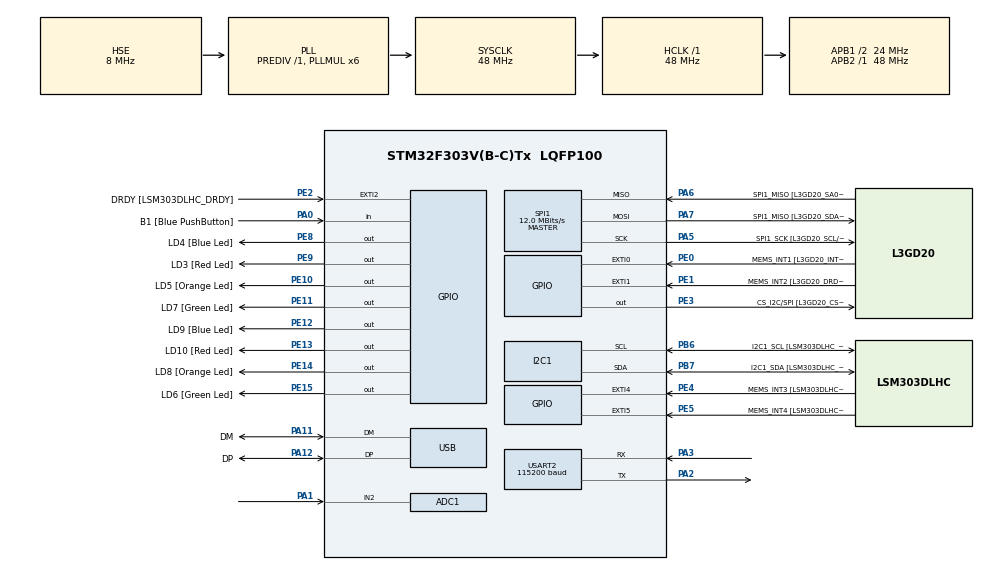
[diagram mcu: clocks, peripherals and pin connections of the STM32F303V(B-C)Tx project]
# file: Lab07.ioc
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ADC1.Channel-1\#ChannelRegularConversion=ADC_CHANNEL_2
ADC1.ContinuousConvMode=DISABLE
ADC1.NbrOfConversionFlag=1
ADC1.Offset-1\#ChannelRegularConversion=0
ADC1.OffsetNumber-1\#ChannelRegularConversion=ADC_OFFSET_NONE
ADC1.Rank-1\#ChannelRegularConversion=1
ADC1.SamplingTime-1\#ChannelRegularConversion=ADC_SAMPLETIME_61CYCLES_5
ADC1.SamplingTimeOPAMP-1\#ChannelRegularConversion=ADC_SAMPLETIME_19CYCLES_5
ADC1.master=1
I2C1.Timing=0x00201D2B
I2C1.Timing-I2C=0x2000090E
Mcu.Family=STM32F3
Mcu.Name=STM32F303V(B-C)Tx
Mcu.Package=LQFP100
NVIC.PriorityGroup=NVIC_PRIORITYGROUP_0
PA0.GPIO_Label=B1 [Blue PushButton]
PA0.Signal=GPIO_Input
PA1.Mode=IN2-Single-Ended
PA1.Signal=ADC1_IN2
PA11.GPIO_Label=DM
PA11.Mode=Device
PA11.Signal=USB_DM
PA12.GPIO_Label=DP
PA12.Mode=Device
PA12.Signal=USB_DP
PA13.GPIO_Label=SWDIO
PA13.Mode=Serial_Wire
PA13.Signal=SYS_JTMS-SWDIO
PA14.GPIO_Label=SWCLK
PA14.Mode=Serial_Wire
PA14.Signal=SYS_JTCK-SWCLK
PA2.Mode=Asynchronous
PA2.Signal=USART2_TX
PA3.Mode=Asynchronous
PA3.Signal=USART2_RX
PA5.GPIO_Label=SPI1_SCK [L3GD20_SCL/SPC]
PA5.Mode=Full_Duplex_Master
PA5.Signal=SPI1_SCK
PA6.GPIO_Label=SPI1_MISO [L3GD20_SA0/SDO]
PA6.Mode=Full_Duplex_Master
PA6.Signal=SPI1_MISO
PA7.GPIO_Label=SPI1_MISO [L3GD20_SDA/SDI/SDO]
PA7.Mode=Full_Duplex_Master
PA7.Signal=SPI1_MOSI
PB3.GPIO_Label=SWO
PB3.Signal=SYS_JTDO-TRACESWO
PB6.GPIO_Label=I2C1_SCL [LSM303DLHC_SCL]
PB6.GPIO_Pu=GPIO_PULLUP
PB6.Mode=I2C
PB6.Signal=I2C1_SCL
PB7.GPIO_Label=I2C1_SDA [LSM303DLHC_SDA]
PB7.GPIO_Pu=GPIO_PULLUP
PB7.Mode=I2C
PB7.Signal=I2C1_SDA
PC14-OSC32_IN.GPIO_Label=OSC32_IN
PC14-OSC32_IN.Signal=RCC_OSC32_IN
PC15-OSC32_OUT.GPIO_Label=OSC32_OUT
PC15-OSC32_OUT.Signal=RCC_OSC32_OUT
PE0.GPIO_Label=MEMS_INT1 [L3GD20_INT1]
PE0.GPIO_ModeDefaultEXTI=GPIO_MODE_EVT_RISING
PE0.Signal=GPXTI0
PE1.GPIO_Label=MEMS_INT2 [L3GD20_DRDY/INT2]
PE1.GPIO_ModeDefaultEXTI=GPIO_MODE_EVT_RISING
PE1.Signal=GPXTI1
PE10.GPIO_Label=LD5 [Orange Led]
PE10.Signal=GPIO_Output
PE11.GPIO_Label=LD7 [Green Led]
PE11.Signal=GPIO_Output
PE12.GPIO_Label=LD9 [Blue Led]
PE12.Signal=GPIO_Output
PE13.GPIO_Label=LD10 [Red Led]
PE13.Signal=GPIO_Output
PE14.GPIO_Label=LD8 [Orange Led]
PE14.Signal=GPIO_Output
PE15.GPIO_Label=LD6 [Green Led]
PE15.Signal=GPIO_Output
PE2.GPIO_Label=DRDY [LSM303DLHC_DRDY]
PE2.GPIO_ModeDefaultEXTI=GPIO_MODE_EVT_RISING
PE2.Signal=GPXTI2
PE3.GPIO_Label=CS_I2C/SPI [L3GD20_CS_I2C/SPI]
PE3.Signal=GPIO_Output
PE4.GPIO_Label=MEMS_INT3 [LSM303DLHC_INT1]
PE4.GPIO_ModeDefaultEXTI=GPIO_MODE_EVT_RISING
PE4.Signal=GPXTI4
PE5.GPIO_Label=MEMS_INT4 [LSM303DLHC_INT2]
PE5.GPIO_ModeDefaultEXTI=GPIO_MODE_EVT_RISING
PE5.Signal=GPXTI5
PE8.GPIO_Label=LD4 [Blue Led]
PE8.Signal=GPIO_Output
PE9.GPIO_Label=LD3 [Red Led]
PE9.Signal=GPIO_Output
PF0-OSC_IN.GPIO_Label=OSC_IN
PF0-OSC_IN.Mode=HSE-External-Clock-Source
PF0-OSC_IN.Signal=RCC_OSC_IN
PF1-OSC_OUT.GPIO_Label=OSC_OUT
PF1-OSC_OUT.Signal=RCC_OSC_OUT
ProjectManager.HeapSize=0x200
ProjectManager.StackSize=0x400
ProjectManager.TargetToolchain=CMake
RCC.AHBFreq_Value=48000000
RCC.APB1CLKDivider=RCC_HCLK_DIV2
RCC.APB1Freq_Value=24000000
RCC.APB1TimFreq_Value=48000000
RCC.APB2Freq_Value=48000000
RCC.APB2TimFreq_Value=48000000
RCC.CortexFreq_Value=48000000
RCC.HCLKFreq_Value=48000000
RCC.HSE_VALUE=8000000
RCC.HSI_VALUE=8000000
RCC.LSE_VALUE=32768
RCC.PLLMUL=RCC_PLL_MUL6
RCC.SYSCLKFreq_VALUE=48000000
RCC.SYSCLKSourceVirtual=RCC_SYSCLKSOURCE_PLLCLK
RCC.USBFreq_Value=48000000
SPI1.BaudRatePrescaler=SPI_BAUDRATEPRESCALER_4
SPI1.BaudRatePrescaler-Full_Duplex_Master=SPI_BAUDRATEPRESCALER_2
SPI1.CalculateBaudRate=12.0 MBits/s
SPI1.CalculateBaudRate-Full_Duplex_Master=24.0 MBits/s
SPI1.Direction=SPI_DIRECTION_2LINES
SPI1.Mode=SPI_MODE_MASTER
SPI1.Mode-Full_Duplex_Master=SPI_MODE_MASTER
SPI1.VirtualType=VM_MASTER
USART2.BaudRate=115200
USART2.VirtualMode-Asynchronous=VM_ASYNC
board=STM32F3DISCOVERY

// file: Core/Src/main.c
/* USER CODE BEGIN Header */
/**
  ******************************************************************************
  * @file           : main.c
  * @brief          : Main program body
  ******************************************************************************
  * @attention
  *
  * Copyright (c) 2026 STMicroelectronics.
  * All rights reserved.
  *
  * This software is licensed under terms that can be found in the LICENSE file
  * in the root directory of this software component.
  * If no LICENSE file comes with this software, it is provided AS-IS.
  *
  ******************************************************************************
  */
/* USER CODE END Header */
#include "main.h"

/* USER CODE BEGIN Includes */
#include <stdio.h>
#include <stdarg.h>
#include <string.h>
/* USER CODE END Includes */

ADC_HandleTypeDef hadc1;

I2C_HandleTypeDef hi2c1;

SPI_HandleTypeDef hspi1;

UART_HandleTypeDef huart2;

PCD_HandleTypeDef hpcd_USB_FS;

/* USER CODE BEGIN PV */
uint32_t adc_val = 0;
/* USER CODE END PV */

void SystemClock_Config(void);
static void MX_GPIO_Init(void);
static void MX_ADC1_Init(void);
static void MX_I2C1_Init(void);
static void MX_SPI1_Init(void);
static void MX_USB_PCD_Init(void);
static void MX_USART2_UART_Init(void);

/* USER CODE BEGIN 0 */

void myPrintf(const char *fmt, ...)
{
    char buf[100];
    va_list args;
    va_start(args, fmt);
    vsnprintf(buf, sizeof(buf), fmt, args);
    va_end(args);
    HAL_UART_Transmit(&huart2, (uint8_t *)buf, strlen(buf), HAL_MAX_DELAY);
}

uint32_t ADC_ReadPolling(void)
{
    HAL_ADC_Start(&hadc1);
    HAL_ADC_PollForConversion(&hadc1, HAL_MAX_DELAY);
    uint32_t val = HAL_ADC_GetValue(&hadc1);
    HAL_ADC_Stop(&hadc1);
    return val;
}

uint32_t ADC_ToMilliVolts(uint32_t raw)
{
    return (raw * 3300) / 4095;
}

/* USER CODE END 0 */

int main(void)
{

  /* MCU Configuration--------------------------------------------------------*/

  /* Reset of all peripherals, Initializes the Flash interface and the Systick. */
  HAL_Init();

  /* Configure the system clock */
  SystemClock_Config();

  /* Initialize all configured peripherals */
  MX_GPIO_Init();
  MX_ADC1_Init();
  MX_I2C1_Init();
  MX_SPI1_Init();
  MX_USB_PCD_Init();
  MX_USART2_UART_Init();
  /* USER CODE BEGIN 2 */
  HAL_ADCEx_Calibration_Start(&hadc1, ADC_SINGLE_ENDED);
  myPrintf("Lab 7 started\r\n");
  /* USER CODE END 2 */

  /* Infinite loop */
  while (1)
  {

    /* USER CODE BEGIN 3 */
    adc_val = ADC_ReadPolling();
    myPrintf("ADC: %lu  Voltage: %lu mV\r\n", adc_val, ADC_ToMilliVolts(adc_val));
    HAL_Delay(500);
  }
  /* USER CODE END 3 */
}

void SystemClock_Config(void)
{
  RCC_OscInitTypeDef RCC_OscInitStruct = {0};
  RCC_ClkInitTypeDef RCC_ClkInitStruct = {0};
  RCC_PeriphCLKInitTypeDef PeriphClkInit = {0};

  /** Initializes the RCC Oscillators according to the specified parameters
  * in the RCC_OscInitTypeDef structure.
  */
  RCC_OscInitStruct.OscillatorType = RCC_OSCILLATORTYPE_HSI|RCC_OSCILLATORTYPE_HSE;
  RCC_OscInitStruct.HSEState = RCC_HSE_BYPASS;
  RCC_OscInitStruct.HSEPredivValue = RCC_HSE_PREDIV_DIV1;
  RCC_OscInitStruct.HSIState = RCC_HSI_ON;
  RCC_OscInitStruct.HSICalibrationValue = RCC_HSICALIBRATION_DEFAULT;
  RCC_OscInitStruct.PLL.PLLState = RCC_PLL_ON;
  RCC_OscInitStruct.PLL.PLLSource = RCC_PLLSOURCE_HSE;
  RCC_OscInitStruct.PLL.PLLMUL = RCC_PLL_MUL6;
  if (HAL_RCC_OscConfig(&RCC_OscInitStruct) != HAL_OK)
  {
    Error_Handler();
  }

  /** Initializes the CPU, AHB and APB buses clocks
  */
  RCC_ClkInitStruct.ClockType = RCC_CLOCKTYPE_HCLK|RCC_CLOCKTYPE_SYSCLK
                              |RCC_CLOCKTYPE_PCLK1|RCC_CLOCKTYPE_PCLK2;
  RCC_ClkInitStruct.SYSCLKSource = RCC_SYSCLKSOURCE_PLLCLK;
  RCC_ClkInitStruct.AHBCLKDivider = RCC_SYSCLK_DIV1;
  RCC_ClkInitStruct.APB1CLKDivider = RCC_HCLK_DIV2;
  RCC_ClkInitStruct.APB2CLKDivider = RCC_HCLK_DIV1;

  if (HAL_RCC_ClockConfig(&RCC_ClkInitStruct, FLASH_LATENCY_1) != HAL_OK)
  {
    Error_Handler();
  }
  PeriphClkInit.PeriphClockSelection = RCC_PERIPHCLK_USB|RCC_PERIPHCLK_USART2
                              |RCC_PERIPHCLK_I2C1|RCC_PERIPHCLK_ADC12;
  PeriphClkInit.Usart2ClockSelection = RCC_USART2CLKSOURCE_PCLK1;
  PeriphClkInit.Adc12ClockSelection = RCC_ADC12PLLCLK_DIV1;
  PeriphClkInit.I2c1ClockSelection = RCC_I2C1CLKSOURCE_HSI;
  PeriphClkInit.USBClockSelection = RCC_USBCLKSOURCE_PLL;
  if (HAL_RCCEx_PeriphCLKConfig(&PeriphClkInit) != HAL_OK)
  {
    Error_Handler();
  }
}

static void MX_ADC1_Init(void)
{

  ADC_MultiModeTypeDef multimode = {0};
  ADC_ChannelConfTypeDef sConfig = {0};

  /** Common config
  */
  hadc1.Instance = ADC1;
  hadc1.Init.ClockPrescaler = ADC_CLOCK_ASYNC_DIV1;
  hadc1.Init.Resolution = ADC_RESOLUTION_12B;
  hadc1.Init.ScanConvMode = ADC_SCAN_DISABLE;
  hadc1.Init.ContinuousConvMode = DISABLE;
  hadc1.Init.DiscontinuousConvMode = DISABLE;
  hadc1.Init.ExternalTrigConvEdge = ADC_EXTERNALTRIGCONVEDGE_NONE;
  hadc1.Init.ExternalTrigConv = ADC_SOFTWARE_START;
  hadc1.Init.DataAlign = ADC_DATAALIGN_RIGHT;
  hadc1.Init.NbrOfConversion = 1;
  hadc1.Init.DMAContinuousRequests = DISABLE;
  hadc1.Init.EOCSelection = ADC_EOC_SINGLE_CONV;
  hadc1.Init.LowPowerAutoWait = DISABLE;
  hadc1.Init.Overrun = ADC_OVR_DATA_OVERWRITTEN;
  if (HAL_ADC_Init(&hadc1) != HAL_OK)
  {
    Error_Handler();
  }

  /** Configure the ADC multi-mode
  */
  multimode.Mode = ADC_MODE_INDEPENDENT;
  if (HAL_ADCEx_MultiModeConfigChannel(&hadc1, &multimode) != HAL_OK)
  {
    Error_Handler();
  }

  /** Configure Regular Channel
  */
  sConfig.Channel = ADC_CHANNEL_2;
  sConfig.Rank = ADC_REGULAR_RANK_1;
  sConfig.SingleDiff = ADC_SINGLE_ENDED;
  sConfig.SamplingTime = ADC_SAMPLETIME_61CYCLES_5;
  sConfig.OffsetNumber = ADC_OFFSET_NONE;
  sConfig.Offset = 0;
  if (HAL_ADC_ConfigChannel(&hadc1, &sConfig) != HAL_OK)
  {
    Error_Handler();
  }

}

static void MX_I2C1_Init(void)
{

  hi2c1.Instance = I2C1;
  hi2c1.Init.Timing = 0x00201D2B;
  hi2c1.Init.OwnAddress1 = 0;
  hi2c1.Init.AddressingMode = I2C_ADDRESSINGMODE_7BIT;
  hi2c1.Init.DualAddressMode = I2C_DUALADDRESS_DISABLE;
  hi2c1.Init.OwnAddress2 = 0;
  hi2c1.Init.OwnAddress2Masks = I2C_OA2_NOMASK;
  hi2c1.Init.GeneralCallMode = I2C_GENERALCALL_DISABLE;
  hi2c1.Init.NoStretchMode = I2C_NOSTRETCH_DISABLE;
  if (HAL_I2C_Init(&hi2c1) != HAL_OK)
  {
    Error_Handler();
  }

  /** Configure Analogue filter
  */
  if (HAL_I2CEx_ConfigAnalogFilter(&hi2c1, I2C_ANALOGFILTER_ENABLE) != HAL_OK)
  {
    Error_Handler();
  }

  /** Configure Digital filter
  */
  if (HAL_I2CEx_ConfigDigitalFilter(&hi2c1, 0) != HAL_OK)
  {
    Error_Handler();
  }

}

static void MX_SPI1_Init(void)
{

  /* SPI1 parameter configuration*/
  hspi1.Instance = SPI1;
  hspi1.Init.Mode = SPI_MODE_MASTER;
  hspi1.Init.Direction = SPI_DIRECTION_2LINES;
  hspi1.Init.DataSize = SPI_DATASIZE_4BIT;
  hspi1.Init.CLKPolarity = SPI_POLARITY_LOW;
  hspi1.Init.CLKPhase = SPI_PHASE_1EDGE;
  hspi1.Init.NSS = SPI_NSS_SOFT;
  hspi1.Init.BaudRatePrescaler = SPI_BAUDRATEPRESCALER_4;
  hspi1.Init.FirstBit = SPI_FIRSTBIT_MSB;
  hspi1.Init.TIMode = SPI_TIMODE_DISABLE;
  hspi1.Init.CRCCalculation = SPI_CRCCALCULATION_DISABLE;
  hspi1.Init.CRCPolynomial = 7;
  hspi1.Init.CRCLength = SPI_CRC_LENGTH_DATASIZE;
  hspi1.Init.NSSPMode = SPI_NSS_PULSE_ENABLE;
  if (HAL_SPI_Init(&hspi1) != HAL_OK)
  {
    Error_Handler();
  }

}

static void MX_USART2_UART_Init(void)
{

  huart2.Instance = USART2;
  huart2.Init.BaudRate = 115200;
  huart2.Init.WordLength = UART_WORDLENGTH_8B;
  huart2.Init.StopBits = UART_STOPBITS_1;
  huart2.Init.Parity = UART_PARITY_NONE;
  huart2.Init.Mode = UART_MODE_TX_RX;
  huart2.Init.HwFlowCtl = UART_HWCONTROL_NONE;
  huart2.Init.OverSampling = UART_OVERSAMPLING_16;
  huart2.Init.OneBitSampling = UART_ONE_BIT_SAMPLE_DISABLE;
  huart2.AdvancedInit.AdvFeatureInit = UART_ADVFEATURE_NO_INIT;
  if (HAL_UART_Init(&huart2) != HAL_OK)
  {
    Error_Handler();
  }

}

static void MX_USB_PCD_Init(void)
{

  hpcd_USB_FS.Instance = USB;
  hpcd_USB_FS.Init.dev_endpoints = 8;
  hpcd_USB_FS.Init.speed = PCD_SPEED_FULL;
  hpcd_USB_FS.Init.phy_itface = PCD_PHY_EMBEDDED;
  hpcd_USB_FS.Init.low_power_enable = DISABLE;
  hpcd_USB_FS.Init.battery_charging_enable = DISABLE;
  if (HAL_PCD_Init(&hpcd_USB_FS) != HAL_OK)
  {
    Error_Handler();
  }

}

static void MX_GPIO_Init(void)
{
  GPIO_InitTypeDef GPIO_InitStruct = {0};

  /* GPIO Ports Clock Enable */
  __HAL_RCC_GPIOE_CLK_ENABLE();
  __HAL_RCC_GPIOC_CLK_ENABLE();
  __HAL_RCC_GPIOF_CLK_ENABLE();
  __HAL_RCC_GPIOA_CLK_ENABLE();
  __HAL_RCC_GPIOB_CLK_ENABLE();

  /*Configure GPIO pin Output Level */
  HAL_GPIO_WritePin(GPIOE, CS_I2C_SPI_Pin|LD4_Pin|LD3_Pin|LD5_Pin
                          |LD7_Pin|LD9_Pin|LD10_Pin|LD8_Pin
                          |LD6_Pin, GPIO_PIN_RESET);

  /*Configure GPIO pins : DRDY_Pin MEMS_INT3_Pin MEMS_INT4_Pin MEMS_INT1_Pin
                           MEMS_INT2_Pin */
  GPIO_InitStruct.Pin = DRDY_Pin|MEMS_INT3_Pin|MEMS_INT4_Pin|MEMS_INT1_Pin
                          |MEMS_INT2_Pin;
  GPIO_InitStruct.Mode = GPIO_MODE_EVT_RISING;
  GPIO_InitStruct.Pull = GPIO_NOPULL;
  HAL_GPIO_Init(GPIOE, &GPIO_InitStruct);

  /*Configure GPIO pins : CS_I2C_SPI_Pin LD4_Pin LD3_Pin LD5_Pin
                           LD7_Pin LD9_Pin LD10_Pin LD8_Pin
                           LD6_Pin */
  GPIO_InitStruct.Pin = CS_I2C_SPI_Pin|LD4_Pin|LD3_Pin|LD5_Pin
                          |LD7_Pin|LD9_Pin|LD10_Pin|LD8_Pin
                          |LD6_Pin;
  GPIO_InitStruct.Mode = GPIO_MODE_OUTPUT_PP;
  GPIO_InitStruct.Pull = GPIO_NOPULL;
  GPIO_InitStruct.Speed = GPIO_SPEED_FREQ_LOW;
  HAL_GPIO_Init(GPIOE, &GPIO_InitStruct);

  /*Configure GPIO pin : B1_Pin */
  GPIO_InitStruct.Pin = B1_Pin;
  GPIO_InitStruct.Mode = GPIO_MODE_INPUT;
  GPIO_InitStruct.Pull = GPIO_NOPULL;
  HAL_GPIO_Init(B1_GPIO_Port, &GPIO_InitStruct);

}

void Error_Handler(void)
{
  __disable_irq();
  while (1)
  {
  }
}
